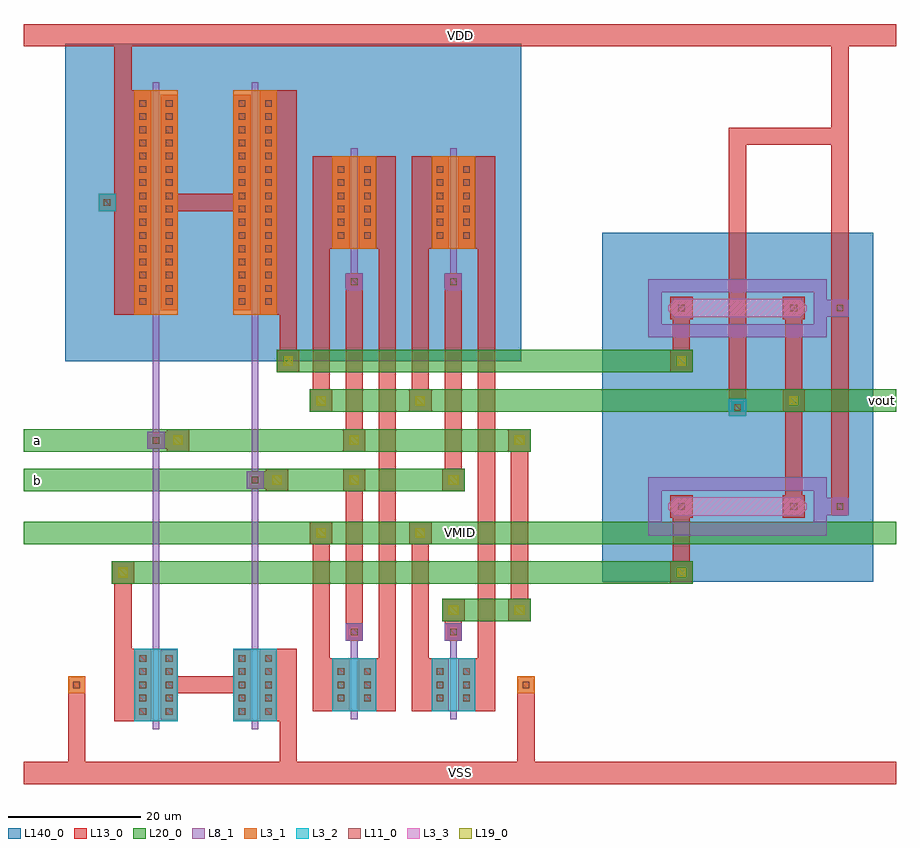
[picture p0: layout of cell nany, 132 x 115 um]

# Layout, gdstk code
import gdstk
lib = gdstk.Library(unit=1e-6, precision=1e-09)
def R(c, l, rs):  # rectangles x0, y0, x1, y1
    for r in rs: c.add(gdstk.rectangle(r[:2], r[2:], *l))
def A(c, l, x, y, w, h, nx, ny, dx, dy):  # array of equal rectangles
    R(c, l, [(x+i*dx, y+j*dy, x+i*dx+w, y+j*dy+h) for i in range(nx) for j in range(ny)])
def P(c, l, *ps):  # polygons
    for p in ps: c.add(gdstk.Polygon(p, *l))
L3_1 = (3, 1)
L3_2 = (3, 2)
L3_3 = (3, 3)
L8_1 = (8, 1)
L11_0 = (11, 0)
L13_0 = (13, 0)
L19_0 = (19, 0)
L20_0 = (20, 0)
L140_0 = (140, 0)

fet_p = lib.new_cell('fet_p')
R(fet_p, L3_1, [(-3.3,-17,3.3,17)])
A(fet_p, L11_0, -2.5, -15.5, 1, 1, 1, 16, 0, 2)
A(fet_p, L11_0, 1.5, -15.5, 1, 1, 1, 16, 0, 2)
R(fet_p, L13_0, [(-3.3,-16.3,-0.7,16.3), (0.7,-16.3,3.3,16.3)])
fet_p.add(gdstk.FlexPath([(0,-18.2),(0,18.2)], 1, ends="flush", simple_path=True, layer=8, datatype=1))  # L8_1

fet_p_1 = lib.new_cell('fet_p$1')
R(fet_p_1, L3_1, [(-3.3,-7,3.3,7)])
A(fet_p_1, L11_0, -2.5, -5.5, 1, 1, 1, 6, 0, 2)
A(fet_p_1, L11_0, 1.5, -5.5, 1, 1, 1, 6, 0, 2)
R(fet_p_1, L13_0, [(-3.3,-6.3,-0.7,6.3), (0.7,-6.3,3.3,6.3)])
fet_p_1.add(gdstk.FlexPath([(0,-8.2),(0,8.2)], 1, ends="flush", simple_path=True, layer=8, datatype=1))  # L8_1

fet_n = lib.new_cell('fet_n')
R(fet_n, L3_2, [(-3.3,-5.5,3.3,5.5)])
A(fet_n, L11_0, -2.5, -4.5, 1, 1, 1, 5, 0, 2)
A(fet_n, L11_0, 1.5, -4.5, 1, 1, 1, 5, 0, 2)
R(fet_n, L13_0, [(-3.3,-5.3,-0.7,5.3), (0.7,-5.3,3.3,5.3)])
fet_n.add(gdstk.FlexPath([(0,-6.7),(0,6.7)], 1, ends="flush", simple_path=True, layer=8, datatype=1))  # L8_1

fet_n_1 = lib.new_cell('fet_n$1')
R(fet_n_1, L3_2, [(-3.3,-4,3.3,4)])
A(fet_n_1, L11_0, -2.5, -2.5, 1, 1, 1, 3, 0, 2)
A(fet_n_1, L11_0, 1.5, -2.5, 1, 1, 1, 3, 0, 2)
R(fet_n_1, L13_0, [(-3.3,-3.3,-0.7,3.3), (0.7,-3.3,3.3,3.3)])
fet_n_1.add(gdstk.FlexPath([(0,-5.2),(0,5.2)], 1, ends="flush", simple_path=True, layer=8, datatype=1))  # L8_1

res_diff = lib.new_cell('res_diff')
P(res_diff, L3_3, [(-9.5,-1.4),(-10.5,-0.4),(-10.5,0.4),(-9.5,1.4),(9.5,1.4),(10.5,0.4),(10.5,-0.4),(9.5,-1.4)])
P(res_diff, L8_1, [(-13.5,-4.4),(-13.5,2.4),(-11.5,2.4),(-11.5,-2.4),(11.5,-2.4),(11.5,2.4),(-13.5,2.4),(-13.5,4.4),(13.5,4.4),(13.5,-4.4)])
R(res_diff, L11_0, [(-9,-0.5,-8,0.5), (8,-0.5,9,0.5)])
R(res_diff, L13_0, [(-10.2,-1.7,-6.8,1.7), (6.8,-1.7,10.2,1.7)])

cont_n = lib.new_cell('cont_n')
R(cont_n, L3_2, [(-1.3,-1.3,1.3,1.3)])
R(cont_n, L11_0, [(-0.5,-0.5,0.5,0.5)])
R(cont_n, L13_0, [(-1.3,-1.3,1.3,1.3)])

cont_p = lib.new_cell('cont_p')
R(cont_p, L3_1, [(-1.3,-1.3,1.3,1.3)])
R(cont_p, L11_0, [(-0.5,-0.5,0.5,0.5)])
R(cont_p, L13_0, [(-1.3,-1.3,1.3,1.3)])

cont_g = lib.new_cell('cont_g')
R(cont_g, L8_1, [(-1.3,-1.3,1.3,1.3)])
R(cont_g, L11_0, [(-0.5,-0.5,0.5,0.5)])
R(cont_g, L13_0, [(-1.3,-1.3,1.3,1.3)])

via_1 = lib.new_cell('via_1')
R(via_1, L13_0, [(-1.7,-1.7,1.7,1.7)])
R(via_1, L19_0, [(-0.7,-0.7,0.7,0.7)])
R(via_1, L20_0, [(-1.7,-1.7,1.7,1.7)])

nany = lib.new_cell('nany')
R(nany, L8_1, [(19.5,14.5,20.5,88.5), (34.5,14.5,35.5,88.5), (49.5,14.5,50.5,23.5), (64.5,14.5,65.5,23.5), (120.2,40.7,124.8,43.3), (120.2,70.7,124.8,73.3), (49.5,75.5,50.5,88.5), (64.5,75.5,65.5,88.5)])
R(nany, L13_0, [(0,0,132,3.4), (6.7,0.4,9.3,16.3), (38.7,0.4,41.3,16.3), (74.7,0.4,77.3,16.3), (13.7,9.5,19.3,20.5), (35.7,9.5,41.3,20.5), (43.7,11,49.3,19), (50.7,11,56.3,19), (58.7,11,64.3,19), (65.7,11,71.3,19), (13.7,13.7,19.3,16.3), (13.7,13.7,16.3,33.3), (20.7,13.7,34.3,16.3), (35.7,13.7,41.3,16.3), (43.7,13.7,49.3,16.3), (43.7,13.7,46.3,39.3), (50.7,13.7,56.3,16.3), (53.7,13.7,56.3,89.3), (58.7,13.7,64.3,16.3), (58.7,13.7,61.3,39.3), (65.7,13.7,71.3,16.3), (68.7,13.7,71.3,89.3), (48.7,21.7,51.3,47.3), (48.7,21.7,51.3,24.3), (63.7,21.7,66.3,27.6), (73.7,25,76.3,27.6), (73.7,25,76.3,53.3), (98.2,30.7,100.8,43.3), (98.2,40.7,100.8,43.3), (115.2,40.7,117.8,73.3), (122.2,40.7,124.8,99.3), (33.7,44.7,39.6,47.3), (63.7,44.7,66.3,77.3), (18.7,50.7,24.6,53.3), (48.7,50.7,51.3,77.3), (106.7,55.7,109.3,99.3), (43.7,56.7,46.3,89.3), (58.7,56.7,61.3,89.3), (38.7,62.7,41.3,89.3), (98.2,62.7,100.8,73.3), (98.2,70.7,100.8,73.3), (13.7,71,19.3,105), (35.7,71,41.3,105), (48.7,74.7,51.3,77.3), (63.7,74.7,66.3,77.3), (43.7,81,49.3,95), (50.7,81,56.3,95), (58.7,81,64.3,95), (65.7,81,71.3,95), (11.3,86.7,16.3,89.3), (13.7,86.7,16.3,114.6), (13.7,86.7,19.3,89.3), (20.7,86.7,34.3,89.3), (35.7,86.7,41.3,89.3), (43.7,86.7,49.3,89.3), (50.7,86.7,56.3,89.3), (58.7,86.7,64.3,89.3), (65.7,86.7,71.3,89.3), (106.7,96.7,124.8,99.3), (122.2,96.7,124.8,114.6), (0,111.6,132,115)])
R(nany, L20_0, [(63.3,24.6,76.7,28), (13.3,30.3,101.2,33.7), (0,36.3,132,39.7), (0,44.3,66.7,47.7), (0,50.3,76.7,53.7), (43.3,56.3,132,59.7), (38.3,62.3,101.2,65.7)])
R(nany, L140_0, [(87.5,30.6,128.5,83.4), (6.3,64,75.3,112)])
nany.add(gdstk.Reference(fet_p, (20,88)))
nany.add(gdstk.Reference(fet_p, (35,88)))
nany.add(gdstk.Reference(fet_p_1, (50,88)))
nany.add(gdstk.Reference(fet_p_1, (65,88)))
nany.add(gdstk.Reference(fet_n, (20,15)))
nany.add(gdstk.Reference(fet_n, (35,15)))
nany.add(gdstk.Reference(fet_n_1, (50,15)))
nany.add(gdstk.Reference(fet_n_1, (65,15)))
nany.add(gdstk.Reference(res_diff, (108,72)))
nany.add(gdstk.Reference(res_diff, (108,42)))
nany.add(gdstk.Reference(cont_n, (12.6,88)))
nany.add(gdstk.Reference(cont_n, (108,57)))
nany.add(gdstk.Reference(cont_p, (8,15)))
nany.add(gdstk.Reference(cont_p, (76,15)))
nany.add(gdstk.Reference(cont_g, (123.5,42)))
nany.add(gdstk.Reference(cont_g, (123.5,72)))
nany.add(gdstk.Reference(via_1, (40,64)))
nany.add(gdstk.Reference(via_1, (15,32)))
nany.add(gdstk.Reference(via_1, (45,58)))
nany.add(gdstk.Reference(via_1, (45,38)))
nany.add(gdstk.Reference(via_1, (60,58)))
nany.add(gdstk.Reference(via_1, (60,38)))
nany.add(gdstk.Reference(cont_g, (20,52)))
nany.add(gdstk.Reference(via_1, (23.3,52)))
nany.add(gdstk.Reference(cont_g, (35,46)))
nany.add(gdstk.Reference(via_1, (38.3,46)))
nany.add(gdstk.Reference(cont_g, (50,76)))
nany.add(gdstk.Reference(via_1, (50,52)))
nany.add(gdstk.Reference(cont_g, (65,76)))
nany.add(gdstk.Reference(via_1, (65,46)))
nany.add(gdstk.Reference(cont_g, (50,23)))
nany.add(gdstk.Reference(cont_g, (65,23)))
nany.add(gdstk.Reference(via_1, (50,46)))
nany.add(gdstk.Reference(via_1, (65,26.3)))
nany.add(gdstk.Reference(via_1, (75,26.3)))
nany.add(gdstk.Reference(via_1, (75,52)))
nany.add(gdstk.Reference(via_1, (99.5,64)))
nany.add(gdstk.Reference(via_1, (99.5,32)))
nany.add(gdstk.Reference(via_1, (116.5,58)))
nany.add(gdstk.Label('a', (2,52), layer=49, texttype=0))
nany.add(gdstk.Label('b', (2,46), layer=49, texttype=0))
nany.add(gdstk.Label('vout', (130,58), layer=49, texttype=0))
nany.add(gdstk.Label('VMID', (66,38), layer=49, texttype=0))
nany.add(gdstk.Label('VDD', (66,113.3), layer=48, texttype=0))
nany.add(gdstk.Label('VSS', (66,1.7), layer=48, texttype=0))

lib.write_gds('nany.gds')
